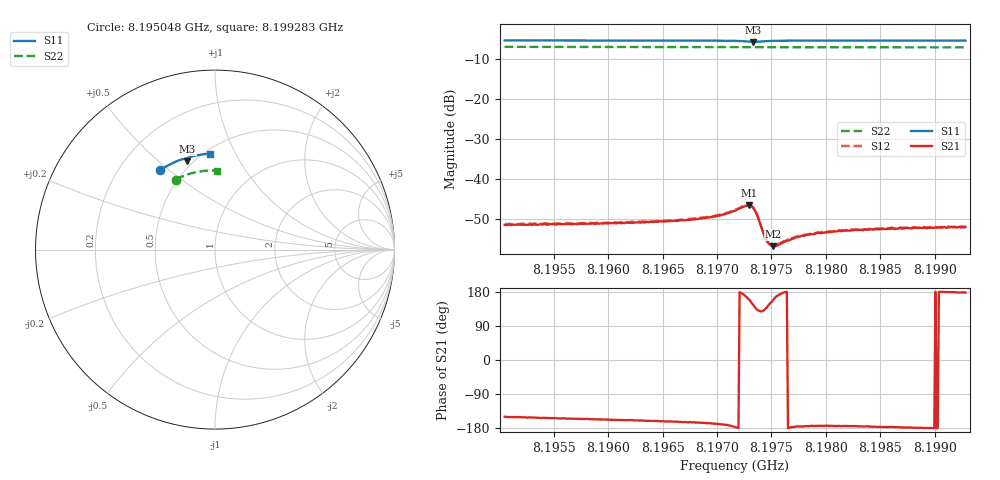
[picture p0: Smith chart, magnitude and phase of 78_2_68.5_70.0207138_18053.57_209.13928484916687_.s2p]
#  HZ  S  RI  R  50.00
! Rohde & Schwarz Vector Network Analyzer
! Rohde-Schwarz,ZNB20-2Port,1311601062101988,3.16
! Created: UTC 3/20/2024, 4:52:02 PM
! freq[Hz]  re:S11  im:S11  re:S21  im:S21  re:S12  im:S12  re:S22  im:S22
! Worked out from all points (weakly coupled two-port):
!   401 points, 8.195048 GHz to 8.199283 GHz, reference 50 ohm
!   highest |S21| = -46.68 dB at 8.197293 GHz (marker M1); lowest = -56.9 dB at 8.197515 GHz (marker M2)
!   lowest |S11| = -5.7 dB at 8.197335 GHz (marker M3), VSWR 3.14, Z = 23.3 + j31.3 ohm
!   |S11| at or under -10 dB: nowhere
!   |S22| runs from -7.1 to -7.0 dB; largest |S21 - S12| = 0.00026
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8.1950483e9  -0.3051 0.443  -0.00227 -0.00133  -0.00241 -0.00126  -0.2181 0.3905
8.1957576e9  -0.262 0.4691  -0.00247 -0.00112  -0.00257 -0.00107  -0.1823 0.4073
8.1964668e9  -0.2161 0.4912  -0.00277 -0.000933  -0.00283 -0.000846  -0.145 0.4209
8.1967315e9  -0.1979 0.4983  -0.00292 -0.000825  -0.00302 -0.00075  -0.1306 0.4252
8.1969432e9  -0.1821 0.5033  -0.00321 -0.000741  -0.00329 -0.000614  -0.1191 0.428
8.1970491e9  -0.1736 0.5053  -0.00348 -0.000629  -0.00359 -0.00046  -0.1133 0.4294
8.1971655e9  -0.1629 0.506  -0.00396 -0.000231  -0.00407 -6.22e-05  -0.107 0.4309
8.1972502e9  -0.154 0.5025  -0.00443 0.000642  -0.00452 0.00086  -0.1021 0.4316
8.1972925e9  -0.1516 0.4978  -0.00436 0.00157  -0.00431 0.00179  -0.0999 0.432
8.1973137e9  -0.1521 0.495  -0.00403 0.00211  -0.004 0.00229  -0.0988 0.4322
8.1973349e9  -0.154 0.4929  -0.00347 0.00247  -0.0034 0.00268  -0.0977 0.4323
8.1973666e9  -0.1582 0.4931  -0.00242 0.00256  -0.00238 0.0027  -0.0961 0.4326
8.1974302e9  -0.1611 0.5004  -0.00132 0.00151  -0.00127 0.00159  -0.093 0.4335
8.1974513e9  -0.1601 0.503  -0.00126 0.00118  -0.00121 0.00124  -0.0916 0.4338
8.1974831e9  -0.158 0.506  -0.00127 0.000805  -0.00125 0.000862  -0.0897 0.4342
8.1975148e9  -0.1556 0.5084  -0.00132 0.00053  -0.00132 0.000578  -0.088 0.4344
8.1975572e9  -0.1521 0.5108  -0.00143 0.000266  -0.00147 0.000325  -0.0857 0.4349
8.1977266e9  -0.1384 0.5166  -0.00183 -0.000135  -0.00187 -4.97e-05  -0.0762 0.4366
8.1978748e9  -0.1271 0.5199  -0.00199 -0.000228  -0.00206 -0.000136  -0.0679 0.4376
8.1981818e9  -0.1049 0.5247  -0.00221 -0.000208  -0.00225 -0.000138  -0.0507 0.4395
8.198584e9  -0.0761 0.5294  -0.00239 -0.000128  -0.00239 -2.73e-05  -0.028 0.4407
8.1992827e9  -0.0264 0.5335  -0.00247 9.06e-05  -0.00251 0.000181  0.0117 0.4403
